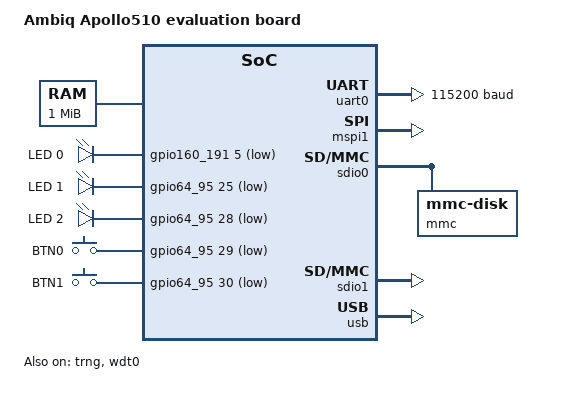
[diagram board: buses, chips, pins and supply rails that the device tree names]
/dts-v1/;
#include <ambiq/ambiq_apollo510.dtsi>
#include "apollo510_evb-pinctrl.dtsi"
#include <zephyr/dt-bindings/input/input-event-codes.h>

/ {
	model = "Ambiq Apollo510 evaluation board";
	compatible = "ambiq,apollo510_evb";

	chosen {
		zephyr,itcm = &itcm;
		zephyr,dtcm = &dtcm;
		zephyr,sram = &sram0;
		zephyr,flash = &flash0;
		zephyr,console = &uart0;
		zephyr,shell-uart = &uart0;
		zephyr,uart-pipe = &uart0;
		zephyr,entropy = &trng;
		ambiq,xo32m = &xo32m_xtal;
		ambiq,xo32k = &xo32k_xtal;
		ambiq,extrefclk = &extrefclk;
	};

	aliases {
		watchdog0 = &wdt0;
		led0 = &led0;
		led1 = &led1;
		led2 = &led2;
		sw0 = &button0;
		sw1 = &button1;
		pwm-led0 = &pwm_led0;
	};

	sram0: memory@SSRAM_BASE_NAME {
		compatible = "mmio-sram";
		reg = <SSRAM_BASE_ADDR 0x200000>;
	};

	sram_no_cache: memory@20280000 {
		compatible = "zephyr,memory-region", "mmio-sram";
		reg = <0x20280000 0x100000>;
		zephyr,memory-region = "SRAM_NO_CACHE";
		zephyr,memory-attr = <DT_MEM_ARM(ATTR_MPU_RAM_NOCACHE)>;
	};

	leds {
		compatible = "gpio-leds";

		led0: led_0 {
			gpios = <&gpio160_191 5 GPIO_ACTIVE_LOW>;
			label = "LED 0";
		};

		led1: led_1 {
			gpios = <&gpio64_95 25 GPIO_ACTIVE_LOW>;
			label = "LED 1";
		};

		led2: led_2 {
			gpios = <&gpio64_95 28 GPIO_ACTIVE_LOW>;
			label = "LED 2";
		};
	};

	buttons {
		compatible = "gpio-keys";
		polling-mode;

		button0: button_0 {
			gpios = <&gpio64_95 29 (GPIO_PULL_UP | GPIO_ACTIVE_LOW)>;
			label = "BTN0";
			zephyr,code = <INPUT_KEY_0>;
			status = "okay";
		};

		button1: button_1 {
			gpios = <&gpio64_95 30 (GPIO_PULL_UP | GPIO_ACTIVE_LOW)>;
			label = "BTN1";
			zephyr,code = <INPUT_KEY_1>;
			status = "okay";
		};
	};

	pwmleds: pwmleds {
		compatible = "pwm-leds";
		status = "disabled";

		pwm_led0: pwm_led_0 {
			pwms = <&pwm2 0 PWM_MSEC(20) PWM_POLARITY_NORMAL>;
			label = "PWM_LED";
		};
	};
};

&trng {
	status = "okay";
};

&xo32m_xtal {
	clock-frequency = <DT_FREQ_M(48)>;
};

&itm {
	pinctrl-0 = <&swo_default>;
	pinctrl-names = "default";
};

&adc0 {
	pinctrl-0 = <&adc0_default>;
	pinctrl-names = "default";
	status = "disabled";
};

&timer0 {
	counter0: counter {
		status = "disabled";
	};
};

&timer2 {
	pwm2: pwm {
		pinctrl-0 = <&pwm2_default>;
		pinctrl-names = "default";
		status = "disabled";
	};
};

&rtc0 {
	status = "disabled";
	clock = "XTAL";
};

&uart0 {
	current-speed = <115200>;
	pinctrl-0 = <&uart0_default>;
	pinctrl-1 = <&uart0_sleep>;
	pinctrl-names = "default", "sleep";
	status = "okay";
};

&stimer0 {
	clk-source = <3>;
};

&wdt0 {
	status = "okay";
};

&mspi0 {
	pinctrl-0 = <&mspi0_default>;
	pinctrl-1 = <&mspi0_sleep>;
	pinctrl-2 = <&mspi0_psram>;
	pinctrl-names = "default", "sleep", "psram";
	status = "disabled";
	zephyr,pm-device-runtime-auto;

	ce-gpios = <&gpio192_223 7 GPIO_ACTIVE_LOW>;

	cmdq-buffer-location = "SRAM_NO_CACHE";
	cmdq-buffer-size = <256>;

	ambiq,apmemory;

	dqs-support;

	aps51216ba: aps_z8@0 {
		compatible = "ambiq,mspi-device", "mspi-aps-z8";
		size = <DT_SIZE_M(512)>;
		reg = <0>;
		status = "disabled";
		mspi-max-frequency = <125000000>;
		mspi-io-mode = "MSPI_IO_MODE_HEX_8_8_16";
		mspi-data-rate = "MSPI_DATA_RATE_S_D_D";
		mspi-hardware-ce-num = <0>;
		mspi-dqs-enable;
		read-command = <0x20>;
		write-command = <0xA0>;
		command-length = "INSTR_1_BYTE";
		address-length = "ADDR_4_BYTE";
		rx-dummy = <7>;
		tx-dummy = <8>;
		xip-config = <1 0 DT_SIZE_M(64) 0>;
		ce-break-config = <1024 4>;
		ambiq,timing-config-mask = <0x62>;
		ambiq,timing-config = <8 7 1 0 0 3 10>;
		zephyr,pm-device-runtime-auto;
	};
};

&mspi1 {
	pinctrl-0 = <&mspi1_default>;
	pinctrl-1 = <&mspi1_sleep>;
	pinctrl-2 = <&mspi1_flash>;
	pinctrl-names = "default", "sleep", "flash";
	status = "okay";
	zephyr,pm-device-runtime-auto;

	ce-gpios = <&gpio32_63 21 GPIO_ACTIVE_LOW>;

	cmdq-buffer-location = "SRAM_NO_CACHE";
	cmdq-buffer-size = <256>;

	dqs-support;

	is25wx064: is25wx064@0 {
		compatible = "ambiq,mspi-device", "mspi-is25xX0xx";
		size = <DT_SIZE_M(64)>;
		reg = <0>;
		status = "disabled";
		mspi-max-frequency = <96000000>;
		mspi-io-mode = "MSPI_IO_MODE_OCTAL_1_8_8";
		mspi-data-rate = "MSPI_DATA_RATE_SINGLE";
		mspi-dqs-enable;
		mspi-hardware-ce-num = <0>;
		read-command = <0xCC>;
		write-command = <0x8E>;
		command-length = "INSTR_1_BYTE";
		address-length = "ADDR_4_BYTE"; /* Avoid use of 3 byte address if Ambiq MSPI */
		rx-dummy = <16>;
		tx-dummy = <0>;
		xip-config = <1 0 DT_SIZE_M(8) 0>;
		ce-break-config = <0 0>;
		ambiq,timing-config-mask = <0x62>;
		ambiq,timing-config = <0 16 1 0 0 5 20>;
	};
};

&sdio0 {
	pinctrl-0 = <&sdio0_default>;
	pinctrl-names = "default";
	txdelay = <0>;
	rxdelay = <0>;
	status = "okay";

	mmc {
		compatible = "zephyr,mmc-disk";
		disk-name = "SD2";
		status = "okay";
	};
};

&sdio1 {
	pinctrl-0 = <&sdio1_default>;
	pinctrl-names = "default";
	txdelay = <9>;
	rxdelay = <11>;
	status = "okay";
};

zephyr_udc0: &usb {
	vddusb33-gpios = <&gpio64_95 27 GPIO_PULL_UP>;
	vddusb0p9-gpios = <&gpio64_95 26 GPIO_PULL_UP>;
	status = "okay";
};

&pdm0 {
	pinctrl-0 = <&pdm0_default>;
	pinctrl-names = "default";
	status = "disabled";
};

&i2s0 {
	pinctrl-0 = <&i2s0_default>;
	pinctrl-names = "default";
	status = "disabled";
};

&i2s1 {
	pinctrl-0 = <&i2s1_default>;
	pinctrl-names = "default";
	status = "disabled";
};

&gpio0_31 {
	status = "okay";
};

&gpio32_63 {
	status = "okay";
};

&gpio64_95 {
	status = "okay";
};

&gpio96_127 {
	status = "okay";
};

&gpio128_159 {
	status = "okay";
};

&gpio160_191 {
	status = "okay";
};

&gpio192_223 {
	status = "okay";
};
